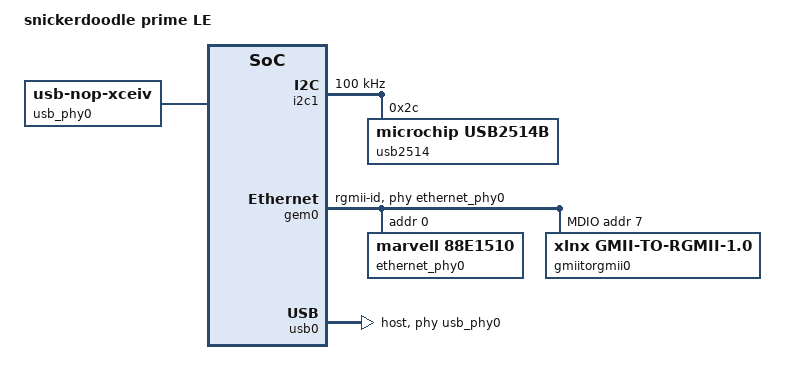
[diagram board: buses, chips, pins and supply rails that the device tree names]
/**
 * Copyright (c) 2017 krtkl inc.
 *
 * snickerdoodle prime LE piSmasher device tree source
 *
 * This program is free software; you can redistribute it and/or modify it
 * under the terms of the GNU General Public License version 2 as published by
 * the Free Software Foundation.
 */

/dts-v1/;
/include/ "snickerdoodle-prime-le.dtsi"

/ {
	model = "snickerdoodle prime LE";

	aliases {
		ethernet0 = &gem0;
//		ethernet1 = &gem1;
	};

        usb_phy0: phy0 {
                compatible = "usb-nop-xceiv";
                #phy-cells = <0>;
        };
};

&i2c1 {
	status = "okay";
	clock-frequency = <100000>;

	usb2514@2c {
		compatible = "microchip,usb2514b";
		reg = <0x2c>;
	};
};

&gem0 {
	status = "okay";
	xlnx,has-mdio = <1>;
	phy-handle = <&ethernet_phy0>;
	phy-mode = "rgmii-id";
	gmii2rgmii-phy-handle = <&gmiitorgmii0>;

	ethernet_phy0: ethernet-phy@0 {
		compatible = "marvell,88e1510";
		device_type = "ethernet-phy";
		reg = <0>;
	};

	mdio {
		#address-cells = <1>;
		#size-cells = <0>;

		gmiitorgmii0: gmiitorgmii@0 {
			compatible = "xlnx,gmii-to-rgmii-1.0";
			reg = <7>;
			phy-handle = <&ethernet_phy0>;
		};
	};
};

&usb0 {
	status = "okay";
	dr_mode = "host";
	usb-phy = <&usb_phy0>;
};
